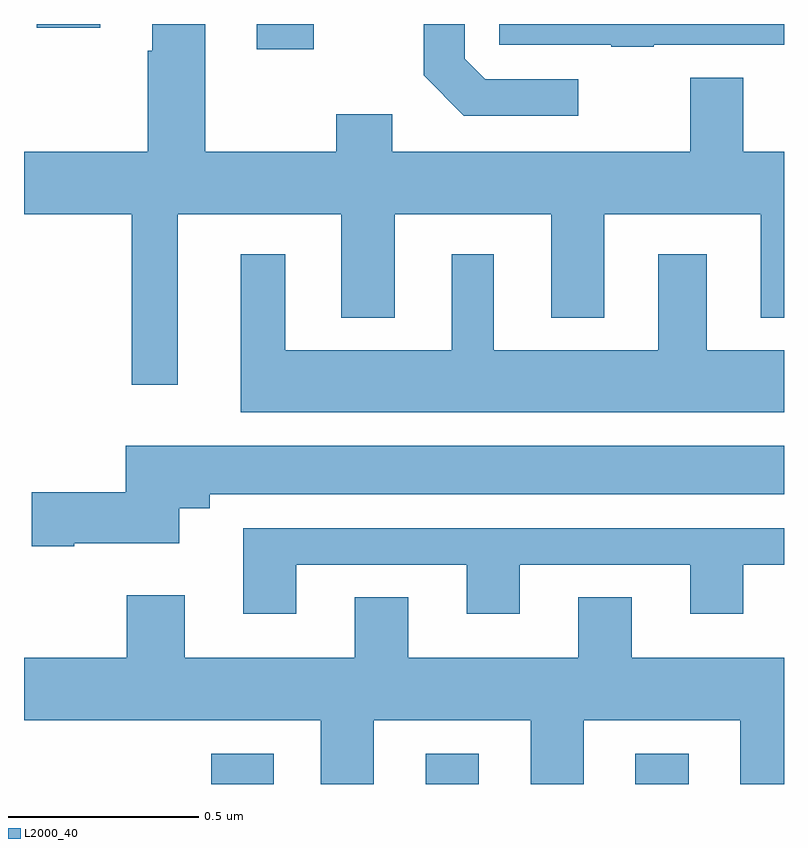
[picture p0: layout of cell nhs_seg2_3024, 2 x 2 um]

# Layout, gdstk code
import gdstk
lib = gdstk.Library(unit=1e-6, precision=1e-09)
def R(c, l, rs):  # rectangles x0, y0, x1, y1
    for r in rs: c.add(gdstk.rectangle(r[:2], r[2:], *l))
def P(c, l, *ps):  # polygons
    for p in ps: c.add(gdstk.Polygon(p, *l))
L2000_40 = (2000, 40)

nhs_seg2_3024 = lib.new_cell('nhs_seg2_3024')
R(nhs_seg2_3024, L2000_40, [(148.493,648.8,148.657,648.88), (149.057,648.8,149.197,648.88), (149.609,648.8,149.749,648.88), (148.613,650.733,148.762,650.8), (148.034,650.79,148.201,650.8)])
P(nhs_seg2_3024, L2000_40, [(149.657,650.745),(150,650.745),(150,650.8),(149.25,650.8),(149.25,650.745),(149.545,650.745),(149.545,650.74),(149.657,650.74)],
  [(148.405,650.3),(148.835,650.3),(148.835,650.027),(148.975,650.027),(148.975,650.3),(149.387,650.3),(149.387,650.027),(149.527,650.027),(149.527,650.3),(149.939,650.3),(149.939,650.027),(150,650.027),(150,650.464),(149.893,650.464),(149.893,650.659),(149.753,650.659),(149.753,650.464),(148.969,650.464),(148.969,650.563),(148.822,650.563),(148.822,650.464),(148.477,650.464),(148.477,650.8),(148.337,650.8),(148.337,650.729),(148.325,650.729),(148.325,650.464),(148,650.464),(148,650.3),(148.284,650.3),(148.284,649.851),(148.405,649.851)],
  [(149.458,650.655),(149.214,650.655),(149.16,650.709),(149.16,650.8),(149.052,650.8),(149.052,650.665),(149.157,650.559),(149.458,650.559)],
  [(150,649.942),(149.797,649.942),(149.797,650.194),(149.669,650.194),(149.669,649.942),(149.236,649.942),(149.236,650.194),(149.126,650.194),(149.126,649.942),(148.687,649.942),(148.687,650.194),(148.571,650.194),(148.571,649.778),(150,649.778)],
  [(148.132,649.433),(148.408,649.433),(148.408,649.526),(148.489,649.526),(148.489,649.562),(150,649.562),(150,649.69),(148.268,649.69),(148.268,649.568),(148.02,649.568),(148.02,649.426),(148.132,649.426)],
  [(148.717,649.377),(149.165,649.377),(149.165,649.248),(149.305,649.248),(149.305,649.377),(149.753,649.377),(149.753,649.248),(149.893,649.248),(149.893,649.377),(150,649.377),(150,649.473),(148.577,649.473),(148.577,649.248),(148.717,649.248)],
  [(148.921,648.968),(149.333,648.968),(149.333,648.8),(149.473,648.8),(149.473,648.968),(149.885,648.968),(149.885,648.8),(150,648.8),(150,649.132),(149.599,649.132),(149.599,649.292),(149.459,649.292),(149.459,649.132),(149.011,649.132),(149.011,649.292),(148.871,649.292),(148.871,649.132),(148.423,649.132),(148.423,649.297),(148.271,649.297),(148.271,649.132),(148,649.132),(148,648.968),(148.781,648.968),(148.781,648.8),(148.921,648.8)])

lib.write_gds('nhs_seg2_3024.gds')
